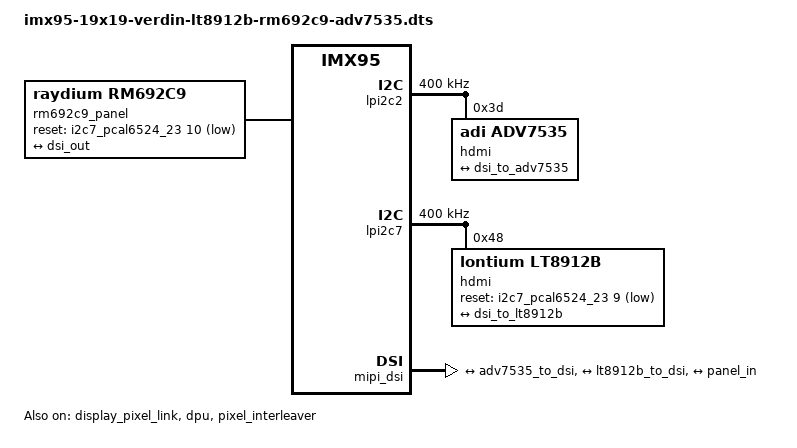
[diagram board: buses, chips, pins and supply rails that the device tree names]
// SPDX-License-Identifier: (GPL-2.0+ OR MIT)
/*
 * Copyright 2024 NXP
 */

#include "imx95-19x19-verdin.dts"
#include "imx95-19x19-verdin-u-boot.dtsi"

/ {
	dsi_host: dsi-host {
		compatible = "synopsys,dw-mipi-dsi";
		status = "okay";
	};

	rm692c9_panel {
		compatible = "raydium,rm692c9";
		reset-gpio = <&i2c7_pcal6524_23 10 GPIO_ACTIVE_LOW>;
		dsi-lanes = <4>;

		port {
			panel_in: endpoint {
				remote-endpoint = <&dsi_out>;
			};
		};
	};
};

&lpi2c2 {
	#address-cells = <1>;
	#size-cells = <0>;
	clock-frequency = <400000>;

	hdmi@3d {
		compatible = "adi,adv7535";
		reg = <0x3d>;
		adi,addr-cec = <0x3c>;
		adi,dsi-lanes = <4>;
		pinctrl-names = "default";
		pinctrl-0 = <&pinctrl_mipi_dsi_csi>;
		status = "okay";

		port {
			adv7535_to_dsi: endpoint {
				remote-endpoint = <&dsi_to_adv7535>;
			};
		};
	};
};

&lpi2c7 {
	#address-cells = <1>;
	#size-cells = <0>;
	clock-frequency = <400000>;

	hdmi@48 {
		compatible = "lontium,lt8912b";
		reg = <0x48>;
		pinctrl-names = "default";
		reset-gpio = <&i2c7_pcal6524_23 9 GPIO_ACTIVE_LOW>;
		status = "okay";
		ports {
			#address-cells = <1>;
			#size-cells = <0>;

			port@0 {
				reg = <0>;

				lt8912b_to_dsi: endpoint {
					data-lanes = <1 2 3 4>;
					remote-endpoint = <&dsi_to_lt8912b>;
				};
			};
		};
	};
};

&display_pixel_link {
	status = "okay";
};

&dpu {
	assigned-clocks = <&scmi_clk IMX95_CLK_DISP1PIX>,
			  <&scmi_clk IMX95_CLK_VIDEOPLL1_VCO>,
			  <&scmi_clk IMX95_CLK_VIDEOPLL1>;
	assigned-clock-parents = <&scmi_clk IMX95_CLK_VIDEOPLL1>,
			  <0>,
			  <&scmi_clk IMX95_CLK_VIDEOPLL1_VCO>;
	assigned-clock-rates = <0>, <4008000000>, <445333334>;
	status = "okay";
};

&mipi_dsi {
	#address-cells = <1>;
	#size-cells = <0>;
	status = "okay";

	ports {
		#address-cells = <1>;
		#size-cells = <0>;

		port@1 {
			reg = <1>;

			dsi_to_adv7535: endpoint {
				remote-endpoint = <&adv7535_to_dsi>;
			};
		};

		port@2 {
			reg = <2>;

			dsi_to_lt8912b: endpoint {
				remote-endpoint = <&lt8912b_to_dsi>;
			};
		};

		port@3 {
			reg = <3>;

			dsi_out: endpoint {
				remote-endpoint = <&panel_in>;
			};
		};
	};
};

&pixel_interleaver {
	#address-cells = <1>;
	#size-cells = <0>;
	status = "okay";

	channel@0 {
		reg = <0>;
		status = "okay";
	};
};
